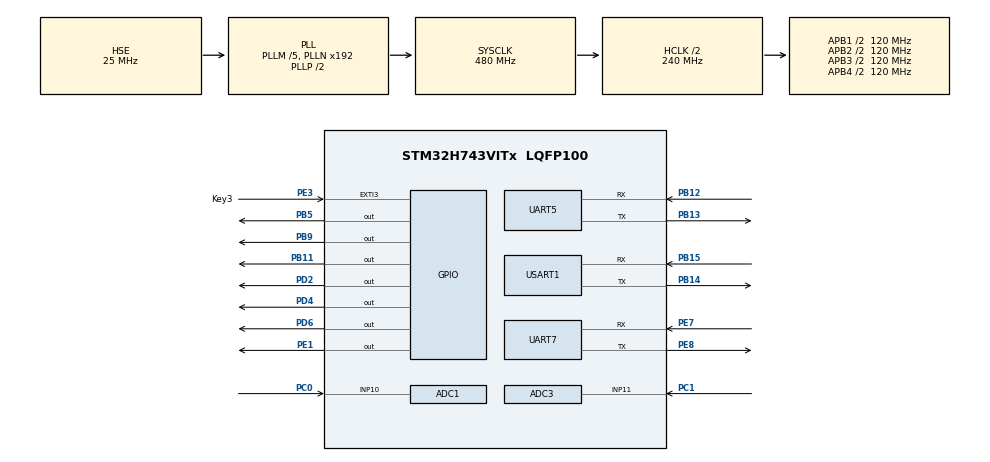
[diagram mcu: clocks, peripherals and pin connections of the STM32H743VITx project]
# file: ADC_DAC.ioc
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ADC1.Channel-1\#ChannelRegularConversion=ADC_CHANNEL_10
ADC1.ClockPrescaler=ADC_CLOCK_ASYNC_DIV1
ADC1.ConversionDataManagement=ADC_CONVERSIONDATA_DMA_CIRCULAR
ADC1.ExternalTrigConv=ADC_EXTERNALTRIG_T15_TRGO
ADC1.NbrOfConversion=1
ADC1.NbrOfConversionFlag=1
ADC1.OffsetNumber-1\#ChannelRegularConversion=ADC_OFFSET_NONE
ADC1.OffsetSignedSaturation-1\#ChannelRegularConversion=DISABLE
ADC1.OversamplingMode=ENABLE
ADC1.Rank-1\#ChannelRegularConversion=1
ADC1.Ratio=1024
ADC1.RightBitShift=ADC_RIGHTBITSHIFT_10
ADC1.SamplingTime-1\#ChannelRegularConversion=ADC_SAMPLETIME_810CYCLES_5
ADC1.master=1
ADC3.Channel-0\#ChannelRegularConversion=ADC_CHANNEL_11
ADC3.ConversionDataManagement=ADC_CONVERSIONDATA_DMA_CIRCULAR
ADC3.ExternalTrigConv=ADC_EXTERNALTRIG_T1_TRGO
ADC3.NbrOfConversionFlag=1
ADC3.OffsetNumber-0\#ChannelRegularConversion=ADC_OFFSET_NONE
ADC3.OffsetSignedSaturation-0\#ChannelRegularConversion=DISABLE
ADC3.Rank-0\#ChannelRegularConversion=1
ADC3.SamplingTime-0\#ChannelRegularConversion=ADC_SAMPLETIME_1CYCLE_5
CORTEX_M7.AccessPermission-Cortex_Memory_Protection_Unit_Region0_Settings=MPU_REGION_FULL_ACCESS
CORTEX_M7.AccessPermission-Cortex_Memory_Protection_Unit_Region1_Settings=MPU_REGION_FULL_ACCESS
CORTEX_M7.AccessPermission-Cortex_Memory_Protection_Unit_Region2_Settings=MPU_REGION_FULL_ACCESS
CORTEX_M7.AccessPermission-Cortex_Memory_Protection_Unit_Region3_Settings=MPU_REGION_FULL_ACCESS
CORTEX_M7.AccessPermission-Cortex_Memory_Protection_Unit_Region4_Settings=MPU_REGION_FULL_ACCESS
CORTEX_M7.AccessPermission_S-Cortex_Memory_Protection_Unit_Region1_Settings_S=MPU_REGION_FULL_ACCESS
CORTEX_M7.AccessPermission_S-Cortex_Memory_Protection_Unit_Region2_Settings_S=MPU_REGION_FULL_ACCESS
CORTEX_M7.AccessPermission_Spec=MPU_REGION_FULL_ACCESS
CORTEX_M7.BaseAddress-Cortex_Memory_Protection_Unit_Region0_Settings=0x24000000
CORTEX_M7.BaseAddress-Cortex_Memory_Protection_Unit_Region1_Settings=0x30000000
CORTEX_M7.BaseAddress-Cortex_Memory_Protection_Unit_Region2_Settings=0x30020000
CORTEX_M7.BaseAddress-Cortex_Memory_Protection_Unit_Region3_Settings=0x30040000
CORTEX_M7.BaseAddress-Cortex_Memory_Protection_Unit_Region4_Settings=0x38000000
CORTEX_M7.BaseAddress_S-Cortex_Memory_Protection_Unit_Region1_Settings_S=0x30000000
CORTEX_M7.BaseAddress_S-Cortex_Memory_Protection_Unit_Region2_Settings_S=0x30020000
CORTEX_M7.BaseAddress_Spec=0x24000000
CORTEX_M7.CPU_DCache=Enabled
CORTEX_M7.CPU_ICache=Enabled
CORTEX_M7.DisableExec_S-Cortex_Memory_Protection_Unit_Region1_Settings_S=MPU_INSTRUCTION_ACCESS_ENABLE
CORTEX_M7.DisableExec_S-Cortex_Memory_Protection_Unit_Region2_Settings_S=MPU_INSTRUCTION_ACCESS_ENABLE
CORTEX_M7.DisableExec_Spec=MPU_INSTRUCTION_ACCESS_ENABLE
CORTEX_M7.Enable-Cortex_Memory_Protection_Unit_Region0_Settings=MPU_REGION_ENABLE
CORTEX_M7.Enable-Cortex_Memory_Protection_Unit_Region1_Settings=MPU_REGION_ENABLE
CORTEX_M7.Enable-Cortex_Memory_Protection_Unit_Region2_Settings=MPU_REGION_ENABLE
CORTEX_M7.Enable-Cortex_Memory_Protection_Unit_Region3_Settings=MPU_REGION_ENABLE
CORTEX_M7.Enable-Cortex_Memory_Protection_Unit_Region4_Settings=MPU_REGION_ENABLE
CORTEX_M7.Enable_S-Cortex_Memory_Protection_Unit_Region1_Settings_S=MPU_REGION_ENABLE
CORTEX_M7.Enable_S-Cortex_Memory_Protection_Unit_Region2_Settings_S=MPU_REGION_ENABLE
CORTEX_M7.IsBufferable-Cortex_Memory_Protection_Unit_Region0_Settings=MPU_ACCESS_NOT_BUFFERABLE
CORTEX_M7.IsBufferable_S-Cortex_Memory_Protection_Unit_Region1_Settings_S=MPU_ACCESS_NOT_BUFFERABLE
CORTEX_M7.IsBufferable_Spec=MPU_ACCESS_BUFFERABLE
CORTEX_M7.IsCacheable-Cortex_Memory_Protection_Unit_Region0_Settings=MPU_ACCESS_NOT_CACHEABLE
CORTEX_M7.IsCacheable_S-Cortex_Memory_Protection_Unit_Region1_Settings_S=MPU_ACCESS_NOT_CACHEABLE
CORTEX_M7.IsCacheable_Spec=MPU_ACCESS_CACHEABLE
CORTEX_M7.IsShareable_Spec=MPU_ACCESS_NOT_SHAREABLE
CORTEX_M7.MPU_Control=MPU_PRIVILEGED_DEFAULT
CORTEX_M7.Size-Cortex_Memory_Protection_Unit_Region0_Settings=MPU_REGION_SIZE_512KB
CORTEX_M7.Size-Cortex_Memory_Protection_Unit_Region1_Settings=MPU_REGION_SIZE_128KB
CORTEX_M7.Size-Cortex_Memory_Protection_Unit_Region2_Settings=MPU_REGION_SIZE_128KB
CORTEX_M7.Size-Cortex_Memory_Protection_Unit_Region3_Settings=MPU_REGION_SIZE_32KB
CORTEX_M7.Size-Cortex_Memory_Protection_Unit_Region4_Settings=MPU_REGION_SIZE_64KB
CORTEX_M7.Size_S-Cortex_Memory_Protection_Unit_Region1_Settings_S=MPU_REGION_SIZE_128KB
CORTEX_M7.Size_S-Cortex_Memory_Protection_Unit_Region2_Settings_S=MPU_REGION_SIZE_128KB
CORTEX_M7.Size_Spec=MPU_REGION_SIZE_512KB
CORTEX_M7.SubRegionDisable_Spec=0x0
CORTEX_M7.TypeExtField-Cortex_Memory_Protection_Unit_Region0_Settings=MPU_TEX_LEVEL1
CORTEX_M7.TypeExtField-Cortex_Memory_Protection_Unit_Region1_Settings=MPU_TEX_LEVEL1
CORTEX_M7.TypeExtField-Cortex_Memory_Protection_Unit_Region2_Settings=MPU_TEX_LEVEL1
CORTEX_M7.TypeExtField-Cortex_Memory_Protection_Unit_Region3_Settings=MPU_TEX_LEVEL1
CORTEX_M7.TypeExtField-Cortex_Memory_Protection_Unit_Region4_Settings=MPU_TEX_LEVEL1
CORTEX_M7.TypeExtField_S-Cortex_Memory_Protection_Unit_Region1_Settings_S=MPU_TEX_LEVEL1
CORTEX_M7.TypeExtField_S-Cortex_Memory_Protection_Unit_Region2_Settings_S=MPU_TEX_LEVEL1
CORTEX_M7.TypeExtField_Spec=MPU_TEX_LEVEL1
Dma.ADC1.0.Direction=DMA_PERIPH_TO_MEMORY
Dma.ADC1.0.EventEnable=DISABLE
Dma.ADC1.0.FIFOMode=DMA_FIFOMODE_DISABLE
Dma.ADC1.0.Instance=DMA1_Stream1
Dma.ADC1.0.MemDataAlignment=DMA_MDATAALIGN_HALFWORD
Dma.ADC1.0.MemInc=DMA_MINC_ENABLE
Dma.ADC1.0.Mode=DMA_NORMAL
Dma.ADC1.0.PeriphDataAlignment=DMA_PDATAALIGN_HALFWORD
Dma.ADC1.0.PeriphInc=DMA_PINC_DISABLE
Dma.ADC1.0.Polarity=HAL_DMAMUX_REQ_GEN_RISING
Dma.ADC1.0.Priority=DMA_PRIORITY_HIGH
Dma.ADC1.0.RequestNumber=1
Dma.ADC1.0.SignalID=NONE
Dma.ADC1.0.SyncEnable=DISABLE
Dma.ADC1.0.SyncPolarity=HAL_DMAMUX_SYNC_NO_EVENT
Dma.ADC1.0.SyncRequestNumber=1
Dma.ADC1.0.SyncSignalID=NONE
Dma.ADC3.1.Direction=DMA_PERIPH_TO_MEMORY
Dma.ADC3.1.EventEnable=DISABLE
Dma.ADC3.1.FIFOMode=DMA_FIFOMODE_DISABLE
Dma.ADC3.1.Instance=DMA2_Stream1
Dma.ADC3.1.MemDataAlignment=DMA_MDATAALIGN_HALFWORD
Dma.ADC3.1.MemInc=DMA_MINC_ENABLE
Dma.ADC3.1.Mode=DMA_NORMAL
Dma.ADC3.1.PeriphDataAlignment=DMA_PDATAALIGN_HALFWORD
Dma.ADC3.1.PeriphInc=DMA_PINC_DISABLE
Dma.ADC3.1.Polarity=HAL_DMAMUX_REQ_GEN_RISING
Dma.ADC3.1.Priority=DMA_PRIORITY_HIGH
Dma.ADC3.1.RequestNumber=1
Dma.ADC3.1.SignalID=NONE
Dma.ADC3.1.SyncEnable=DISABLE
Dma.ADC3.1.SyncPolarity=HAL_DMAMUX_SYNC_NO_EVENT
Dma.ADC3.1.SyncRequestNumber=1
Dma.ADC3.1.SyncSignalID=NONE
Dma.Request0=ADC1
Dma.Request1=ADC3
Mcu.Family=STM32H7
Mcu.Name=STM32H743VITx
Mcu.Package=LQFP100
NVIC.DMA1_Stream1_IRQn=true\:0\:0\:false\:false\:true\:false\:true\:true
NVIC.DMA2_Stream1_IRQn=true\:0\:0\:false\:false\:true\:false\:true\:true
NVIC.EXTI3_IRQn=true\:0\:0\:false\:false\:true\:true\:true\:true
NVIC.PriorityGroup=NVIC_PRIORITYGROUP_4
NVIC.TIM3_IRQn=true\:0\:0\:false\:false\:true\:true\:true\:true
NVIC.TIM4_IRQn=true\:0\:0\:false\:false\:true\:true\:true\:true
NVIC.UART5_IRQn=true\:0\:0\:false\:false\:true\:true\:true\:true
NVIC.UART7_IRQn=true\:0\:0\:false\:false\:true\:true\:true\:true
PA13\ (JTMS/SWDIO).Mode=Serial_Wire
PA13\ (JTMS/SWDIO).Signal=DEBUG_JTMS-SWDIO
PA14\ (JTCK/SWCLK).Mode=Serial_Wire
PA14\ (JTCK/SWCLK).Signal=DEBUG_JTCK-SWCLK
PB11.GPIO_ModeDefaultOutputPP=GPIO_MODE_OUTPUT_PP
PB11.GPIO_PuPd=GPIO_PULLUP
PB11.GPIO_Speed=GPIO_SPEED_FREQ_VERY_HIGH
PB11.PinState=GPIO_PIN_SET
PB11.Signal=GPIO_Output
PB12.Mode=Asynchronous
PB12.Signal=UART5_RX
PB13.Mode=Asynchronous
PB13.Signal=UART5_TX
PB14.Mode=Asynchronous
PB14.Signal=USART1_TX
PB15.Mode=Asynchronous
PB15.Signal=USART1_RX
PB5.GPIO_ModeDefaultOutputPP=GPIO_MODE_OUTPUT_PP
PB5.GPIO_PuPd=GPIO_PULLUP
PB5.GPIO_Speed=GPIO_SPEED_FREQ_VERY_HIGH
PB5.PinState=GPIO_PIN_SET
PB5.Signal=GPIO_Output
PB9.GPIO_PuPd=GPIO_PULLUP
PB9.GPIO_Speed=GPIO_SPEED_FREQ_VERY_HIGH
PB9.PinState=GPIO_PIN_SET
PB9.Signal=GPIO_Output
PC0.Signal=ADCx_INP10
PC1.Signal=ADCx_INP11
PD2.GPIO_Speed=GPIO_SPEED_FREQ_VERY_HIGH
PD2.PinState=GPIO_PIN_SET
PD2.Signal=GPIO_Output
PD4.GPIO_PuPd=GPIO_PULLUP
PD4.GPIO_Speed=GPIO_SPEED_FREQ_VERY_HIGH
PD4.PinState=GPIO_PIN_SET
PD4.Signal=GPIO_Output
PD6.GPIO_PuPd=GPIO_PULLUP
PD6.GPIO_Speed=GPIO_SPEED_FREQ_VERY_HIGH
PD6.PinState=GPIO_PIN_SET
PD6.Signal=GPIO_Output
PE1.GPIO_PuPd=GPIO_PULLUP
PE1.GPIO_Speed=GPIO_SPEED_FREQ_VERY_HIGH
PE1.PinState=GPIO_PIN_SET
PE1.Signal=GPIO_Output
PE3.GPIO_Label=Key3
PE3.GPIO_ModeDefaultEXTI=GPIO_MODE_IT_FALLING
PE3.GPIO_PuPd=GPIO_PULLUP
PE3.Signal=GPXTI3
PE7.Mode=Asynchronous
PE7.Signal=UART7_RX
PE8.Mode=Asynchronous
PE8.Signal=UART7_TX
PH0-OSC_IN\ (PH0).Mode=HSE-External-Oscillator
PH0-OSC_IN\ (PH0).Signal=RCC_OSC_IN
PH1-OSC_OUT\ (PH1).Mode=HSE-External-Oscillator
PH1-OSC_OUT\ (PH1).Signal=RCC_OSC_OUT
ProjectManager.HeapSize=0x200
ProjectManager.StackSize=0x400
ProjectManager.TargetToolchain=MDK-ARM V5.32
RCC.ADCFreq_Value=72000000
RCC.APB1Freq_Value=120000000
RCC.APB2Freq_Value=120000000
RCC.APB3Freq_Value=120000000
RCC.APB4Freq_Value=120000000
RCC.CortexFreq_Value=480000000
RCC.D1PPRE=RCC_APB3_DIV2
RCC.D2PPRE1=RCC_APB1_DIV2
RCC.D2PPRE2=RCC_APB2_DIV2
RCC.D3PPRE=RCC_APB4_DIV2
RCC.DIVM1=5
RCC.DIVM2=25
RCC.DIVN1=192
RCC.DIVN2=360
RCC.DIVP2=5
RCC.HCLKFreq_Value=240000000
RCC.HPRE=RCC_HCLK_DIV2
RCC.HSE_Timout=5000
RCC.PLLSourceVirtual=RCC_PLLSOURCE_HSE
RCC.ProductRev=revV
RCC.SYSCLKFreq_VALUE=480000000
RCC.SYSCLKSource=RCC_SYSCLKSOURCE_PLLCLK
RCC.USBFreq_Value=480000000
SH.ADCx_INP10.0=ADC2_INP10
SH.ADCx_INP10.1=ADC1_INP10,IN10-Single-Ended
SH.ADCx_INP11.0=ADC3_INP11,IN11-Single-Ended
TIM1.AutoReloadPreload=TIM_AUTORELOAD_PRELOAD_ENABLE
TIM1.Period=5-1
TIM1.Prescaler=240-1
TIM1.TIM_MasterOutputTrigger=TIM_TRGO_UPDATE
TIM15.AutoReloadPreload=TIM_AUTORELOAD_PRELOAD_ENABLE
TIM15.Period=4-1
TIM15.Prescaler=60-1
TIM15.TIM_MasterOutputTrigger=TIM_TRGO_UPDATE
TIM2.AutoReloadPreload=TIM_AUTORELOAD_PRELOAD_ENABLE
TIM2.Period=20-1
TIM2.Prescaler=240-1
TIM3.AutoReloadPreload=TIM_AUTORELOAD_PRELOAD_ENABLE
TIM3.Period=100-1
TIM3.Prescaler=240-1
TIM4.AutoReloadPreload=TIM_AUTORELOAD_PRELOAD_ENABLE
TIM4.Period=50-1
TIM4.Prescaler=240-1
TIM6.AutoReloadPreload=TIM_AUTORELOAD_PRELOAD_ENABLE
TIM6.Period=200-1
TIM6.Prescaler=12-1
TIM6.TIM_MasterOutputTrigger=TIM_TRGO_UPDATE
TIM7.Prescaler=239
UART7.RXFIFOThreshold=RXFIFO_THRESHOLD_1EIGHTHFULL
UART7.TXFIFOThreshold=TXFIFO_THRESHOLD_1EIGHTHFULL
USART1.VirtualMode-Asynchronous=VM_ASYNC
VP_TIM15_VS_ClockSourceINT.Mode=Internal
VP_TIM1_VS_ClockSourceINT.Mode=Internal
VP_TIM2_VS_ClockSourceINT.Mode=Internal
VP_TIM3_VS_ClockSourceINT.Mode=Internal
VP_TIM4_VS_ClockSourceINT.Mode=Internal
VP_TIM6_VS_ClockSourceINT.Mode=Enable_Timer
VP_TIM7_VS_ClockSourceINT.Mode=Enable_Timer
board=custom

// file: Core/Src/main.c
/* USER CODE BEGIN Header */
/**
  ******************************************************************************
  * @file           : main.c
  * @brief          : Main program body
  ******************************************************************************
  * @attention
  *
  * Copyright (c) 2022 STMicroelectronics.
  * All rights reserved.
  *
  * This software is licensed under terms that can be found in the LICENSE file
  * in the root directory of this software component.
  * If no LICENSE file comes with this software, it is provided AS-IS.
  *
  ******************************************************************************
  */
/* USER CODE END Header */
#include "main.h"
#include "adc.h"
#include "dma.h"
#include "tim.h"
#include "usart.h"
#include "gpio.h"

/* USER CODE BEGIN Includes */
int Chande_flag = 0;
char screen_message[30] = {0};
uint32_t frequency = 1000;
/* USER CODE END Includes */

/* USER CODE BEGIN PTD */
ALIGN_32BYTES (uint16_t adc1_data[10000])  __attribute__((section(".ARM.__at_0x30020000")));
ALIGN_32BYTES (uint16_t adc3_data[2000]) 	__attribute__((section(".ARM.__at_0x30000000")));

//ALIGN_32BYTES (uint16_t comp[1000]) 	__attribute__((section(".ARM.__at_0x300200000")));
uint16_t comp[2000] = {0};
__IO uint8_t AdcConvEnd = 0;//表示adc采集完成__at_0x24000000
float scan_data[480] = {0};
float Upper_K = 0;
float InputRes = 0;

float InputAC = 0;

float InputAC_kailu = 0;

float OutputAC = 0;

float OutputResAC = 0;

float OutputRes = 0;

float Gain = 0;

uint16_t Error_flag = 0;

float Check_OutputRes = 0;

float Check_InputRes = 0;

float Check_Gain = 0;

float Check_DC = 0;

float OutputDC = 0;

uint16_t Check_flag = 0;

float CheckAC = 0;

void adc_saopin(void)
{
//	HAL_ADC_DeInit(&hadc1);
	MX_ADC1_Init();	//初始化调用放这里, 确保在MX_DMA_Init()初始化后面
	HAL_Delay(100);	//有地方说这里可以等等电压稳定后再校准

	if (HAL_ADCEx_Calibration_Start(&hadc1, ADC_CALIB_OFFSET, ADC_SINGLE_ENDED) != HAL_OK)
	{
			printf("hadc1 error with HAL_ADCEx_Calibration_Start\r\n");
			Error_Handler();
	}

	if (HAL_ADC_Start_DMA(&hadc1, (uint32_t *)adc1_data, 1) != HAL_OK)
	{
			printf("hadc1 error with HAL_ADC_Start_DMA\r\n");
			Error_Handler();
	}

	HAL_TIM_Base_Start(&htim15);
	while (!AdcConvEnd);
	AdcConvEnd = 0;
	HAL_ADC_DeInit(&hadc1);
}

void adc_init(void)
{
//	HAL_ADC_DeInit(&hadc1);
	MX_ADC1_Init();	//初始化调用放这里, 确保在MX_DMA_Init()初始化后面
	HAL_Delay(100);	//有地方说这里可以等等电压稳定后再校准

	if (HAL_ADCEx_Calibration_Start(&hadc1, ADC_CALIB_OFFSET, ADC_SINGLE_ENDED) != HAL_OK)
	{
			printf("hadc1 error with HAL_ADCEx_Calibration_Start\r\n");
			Error_Handler();
	}

	if (HAL_ADC_Start_DMA(&hadc1, (uint32_t *)adc1_data, 10000) != HAL_OK)
	{
			printf("hadc1 error with HAL_ADC_Start_DMA\r\n");
			Error_Handler();
	}

	HAL_TIM_Base_Start(&htim15);
	while (!AdcConvEnd);
	AdcConvEnd = 0;
	HAL_ADC_DeInit(&hadc1);
}

void adc3_init(void)
{
//	HAL_ADC_DeInit(&hadc3);
	MX_ADC3_Init();	//初始化调用放这里, 确保在MX_DMA_Init()初始化后面
	HAL_Delay(100);	//有地方说这里可以等等电压稳定后再校准

	if (HAL_ADCEx_Calibration_Start(&hadc3, ADC_CALIB_OFFSET, ADC_SINGLE_ENDED) != HAL_OK)
	{
			printf("hadc1 error with HAL_ADCEx_Calibration_Start\r\n");
			Error_Handler();
	}

	if (HAL_ADC_Start_DMA(&hadc3, (uint32_t *)adc3_data, 2000) != HAL_OK)
	{
			printf("hadc3 error with HAL_ADC_Start_DMA\r\n");
			Error_Handler();
	}

	HAL_TIM_Base_Start(&htim1);
	while (!AdcConvEnd);
	AdcConvEnd = 0;
		HAL_ADC_DeInit(&hadc3);

}
/* USER CODE END PTD */

void SystemClock_Config(void);
void PeriphCommonClock_Config(void);
static void MPU_Config(void);

int main(void)
{
  /* USER CODE BEGIN 1 */
	//系统初始化代码
//	{
  /* USER CODE END 1 */

  /* MPU Configuration--------------------------------------------------------*/
  MPU_Config();

  /* Enable I-Cache---------------------------------------------------------*/
  SCB_EnableICache();

  /* Enable D-Cache---------------------------------------------------------*/
  SCB_EnableDCache();

  /* MCU Configuration--------------------------------------------------------*/

  /* Reset of all peripherals, Initializes the Flash interface and the Systick. */
  HAL_Init();

  /* USER CODE BEGIN Init */
	uint32_t saopin = 0;
  /* USER CODE END Init */

  /* Configure the system clock */
  SystemClock_Config();

/* Configure the peripherals common clocks */
  PeriphCommonClock_Config();

  /* Initialize all configured peripherals */
  MX_GPIO_Init();
  MX_DMA_Init();
  MX_TIM7_Init();
  MX_TIM6_Init();
  MX_ADC1_Init();
  MX_USART1_UART_Init();
  MX_ADC3_Init();
  MX_TIM15_Init();
  MX_TIM1_Init();
  MX_UART7_Init();
  MX_TIM2_Init();
  MX_TIM3_Init();
  MX_TIM4_Init();
  MX_UART5_Init();
  /* USER CODE BEGIN 2 */
	Init_AD9959();
	uint32_t freq = 20000000;
	Write_frequence(2,freq);

	//输出交流信号进行采样，并联电阻
	Start_Output_Resistor_Measure();
	//改变输出通道adc采样频率到100KHz
	TIM15->PSC = 150-1;
	//测量输出电压
//	adc_init();
	float adata = 0;
  /* USER CODE END 2 */

  /* Infinite loop */
  /* USER CODE BEGIN WHILE */

  while (1)
  {
		for(u16 temp = 0;temp<900;temp++)
		{
			freq = 100+temp;
			Write_frequence(2,freq*100000);
			Delay_Us(100);
			adc_saopin();
			adata = (float)(adc1_data[0])/65536*3300;
			printf("%f\r\n", adata);
		}
//
    /* USER CODE END WHILE */

  }
}

void SystemClock_Config(void)
{
  RCC_OscInitTypeDef RCC_OscInitStruct = {0};
  RCC_ClkInitTypeDef RCC_ClkInitStruct = {0};

  /** Supply configuration update enable
  */
  HAL_PWREx_ConfigSupply(PWR_LDO_SUPPLY);

  /** Configure the main internal regulator output voltage
  */
  __HAL_PWR_VOLTAGESCALING_CONFIG(PWR_REGULATOR_VOLTAGE_SCALE1);

  while(!__HAL_PWR_GET_FLAG(PWR_FLAG_VOSRDY)) {}

  __HAL_RCC_SYSCFG_CLK_ENABLE();
  __HAL_PWR_VOLTAGESCALING_CONFIG(PWR_REGULATOR_VOLTAGE_SCALE0);

  while(!__HAL_PWR_GET_FLAG(PWR_FLAG_VOSRDY)) {}

  /** Initializes the RCC Oscillators according to the specified parameters
  * in the RCC_OscInitTypeDef structure.
  */
  RCC_OscInitStruct.OscillatorType = RCC_OSCILLATORTYPE_HSE;
  RCC_OscInitStruct.HSEState = RCC_HSE_ON;
  RCC_OscInitStruct.PLL.PLLState = RCC_PLL_ON;
  RCC_OscInitStruct.PLL.PLLSource = RCC_PLLSOURCE_HSE;
  RCC_OscInitStruct.PLL.PLLM = 5;
  RCC_OscInitStruct.PLL.PLLN = 192;
  RCC_OscInitStruct.PLL.PLLP = 2;
  RCC_OscInitStruct.PLL.PLLQ = 2;
  RCC_OscInitStruct.PLL.PLLR = 2;
  RCC_OscInitStruct.PLL.PLLRGE = RCC_PLL1VCIRANGE_2;
  RCC_OscInitStruct.PLL.PLLVCOSEL = RCC_PLL1VCOWIDE;
  RCC_OscInitStruct.PLL.PLLFRACN = 0;
  if (HAL_RCC_OscConfig(&RCC_OscInitStruct) != HAL_OK)
  {
    Error_Handler();
  }

  /** Initializes the CPU, AHB and APB buses clocks
  */
  RCC_ClkInitStruct.ClockType = RCC_CLOCKTYPE_HCLK|RCC_CLOCKTYPE_SYSCLK
                              |RCC_CLOCKTYPE_PCLK1|RCC_CLOCKTYPE_PCLK2
                              |RCC_CLOCKTYPE_D3PCLK1|RCC_CLOCKTYPE_D1PCLK1;
  RCC_ClkInitStruct.SYSCLKSource = RCC_SYSCLKSOURCE_PLLCLK;
  RCC_ClkInitStruct.SYSCLKDivider = RCC_SYSCLK_DIV1;
  RCC_ClkInitStruct.AHBCLKDivider = RCC_HCLK_DIV2;
  RCC_ClkInitStruct.APB3CLKDivider = RCC_APB3_DIV2;
  RCC_ClkInitStruct.APB1CLKDivider = RCC_APB1_DIV2;
  RCC_ClkInitStruct.APB2CLKDivider = RCC_APB2_DIV2;
  RCC_ClkInitStruct.APB4CLKDivider = RCC_APB4_DIV2;

  if (HAL_RCC_ClockConfig(&RCC_ClkInitStruct, FLASH_LATENCY_4) != HAL_OK)
  {
    Error_Handler();
  }
}

void PeriphCommonClock_Config(void)
{
  RCC_PeriphCLKInitTypeDef PeriphClkInitStruct = {0};

  /** Initializes the peripherals clock
  */
  PeriphClkInitStruct.PeriphClockSelection = RCC_PERIPHCLK_ADC;
  PeriphClkInitStruct.PLL2.PLL2M = 25;
  PeriphClkInitStruct.PLL2.PLL2N = 360;
  PeriphClkInitStruct.PLL2.PLL2P = 5;
  PeriphClkInitStruct.PLL2.PLL2Q = 2;
  PeriphClkInitStruct.PLL2.PLL2R = 2;
  PeriphClkInitStruct.PLL2.PLL2RGE = RCC_PLL2VCIRANGE_0;
  PeriphClkInitStruct.PLL2.PLL2VCOSEL = RCC_PLL2VCOWIDE;
  PeriphClkInitStruct.PLL2.PLL2FRACN = 0;
  PeriphClkInitStruct.AdcClockSelection = RCC_ADCCLKSOURCE_PLL2;
  if (HAL_RCCEx_PeriphCLKConfig(&PeriphClkInitStruct) != HAL_OK)
  {
    Error_Handler();
  }
}

/* USER CODE BEGIN 4 */
void HAL_ADC_ConvCpltCallback(ADC_HandleTypeDef* hadc)
{
   if(hadc->Instance == ADC1)
	{
      //SCB_InvalidateDCache_by_Addr((uint32_t *) &adc1_data[0], ADC1_BUFFER_SIZE);
   }
	 AdcConvEnd = 1;
}

/* USER CODE END 4 */

/* MPU Configuration */

void MPU_Config(void)
{
  MPU_Region_InitTypeDef MPU_InitStruct = {0};

  /* Disables the MPU */
  HAL_MPU_Disable();

  /** Initializes and configures the Region and the memory to be protected
  */
  MPU_InitStruct.Enable = MPU_REGION_ENABLE;
  MPU_InitStruct.Number = MPU_REGION_NUMBER0;
  MPU_InitStruct.BaseAddress = 0x24000000;
  MPU_InitStruct.Size = MPU_REGION_SIZE_512KB;
  MPU_InitStruct.SubRegionDisable = 0x0;
  MPU_InitStruct.TypeExtField = MPU_TEX_LEVEL1;
  MPU_InitStruct.AccessPermission = MPU_REGION_FULL_ACCESS;
  MPU_InitStruct.DisableExec = MPU_INSTRUCTION_ACCESS_ENABLE;
  MPU_InitStruct.IsShareable = MPU_ACCESS_NOT_SHAREABLE;
  MPU_InitStruct.IsCacheable = MPU_ACCESS_NOT_CACHEABLE;
  MPU_InitStruct.IsBufferable = MPU_ACCESS_NOT_BUFFERABLE;

  HAL_MPU_ConfigRegion(&MPU_InitStruct);

  /** Initializes and configures the Region and the memory to be protected
  */
  MPU_InitStruct.Number = MPU_REGION_NUMBER1;
  MPU_InitStruct.BaseAddress = 0x30000000;
  MPU_InitStruct.Size = MPU_REGION_SIZE_128KB;

  HAL_MPU_ConfigRegion(&MPU_InitStruct);

  /** Initializes and configures the Region and the memory to be protected
  */
  MPU_InitStruct.Number = MPU_REGION_NUMBER2;
  MPU_InitStruct.BaseAddress = 0x30020000;

  HAL_MPU_ConfigRegion(&MPU_InitStruct);

  /** Initializes and configures the Region and the memory to be protected
  */
  MPU_InitStruct.Number = MPU_REGION_NUMBER3;
  MPU_InitStruct.BaseAddress = 0x30040000;
  MPU_InitStruct.Size = MPU_REGION_SIZE_32KB;

  HAL_MPU_ConfigRegion(&MPU_InitStruct);

  /** Initializes and configures the Region and the memory to be protected
  */
  MPU_InitStruct.Number = MPU_REGION_NUMBER4;
  MPU_InitStruct.BaseAddress = 0x38000000;
  MPU_InitStruct.Size = MPU_REGION_SIZE_64KB;

  HAL_MPU_ConfigRegion(&MPU_InitStruct);
  /* Enables the MPU */
  HAL_MPU_Enable(MPU_PRIVILEGED_DEFAULT);

}

void Error_Handler(void)
{
  __disable_irq();
  while (1)
  {
  }
}
